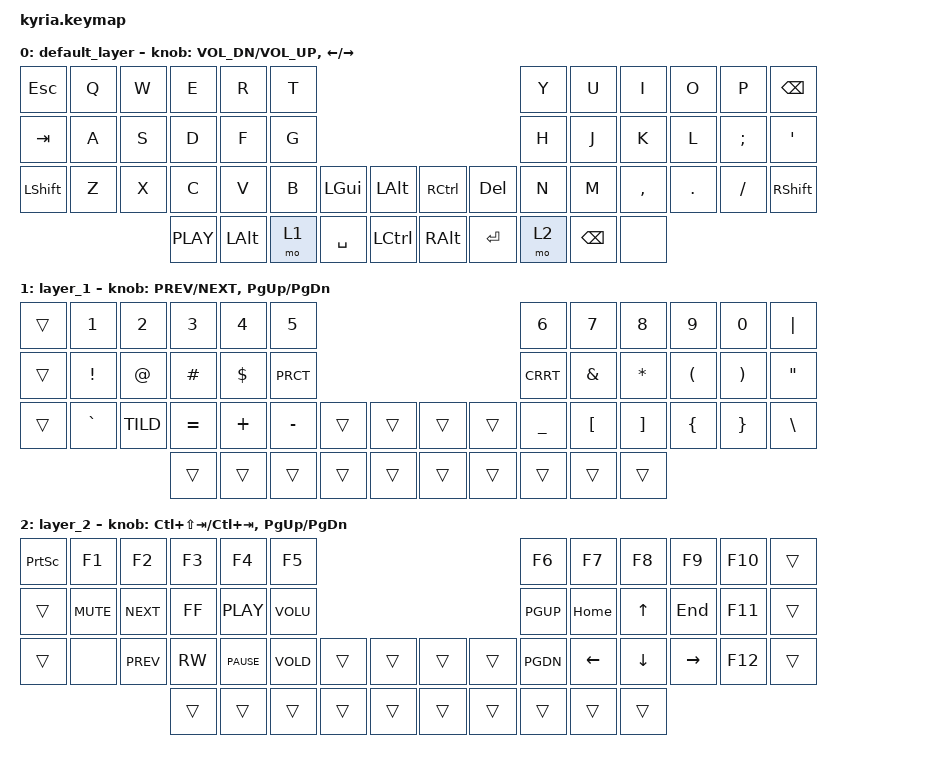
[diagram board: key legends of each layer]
/*
 * Copyright (c) 2020 The ZMK Contributors
 *
 * SPDX-License-Identifier: MIT
 */

#include <behaviors.dtsi>
#include <dt-bindings/zmk/keys.h>
#include <dt-bindings/zmk/outputs.h>
#include <dt-bindings/zmk/bt.h>

/ {
    behaviors {
        tm: thumb_mods {
            compatible = "zmk,behavior-hold-tap";
            label = "THUMB_MODS";
            #binding-cells = <2>;
            tapping-term-ms = <200>;    // <---[[moderate duration]]
            quick-tap-ms = <0>;
            flavor = "hold-preferred";
            bindings = <&kp>, <&kp>;
        };
        // A sticky mod: if held, it's mod, if tap, it's sticky mod.
        sm: sticky_mods {
            compatible = "zmk,behavior-hold-tap";
            label = "STICKY_MODS";
            #binding-cells = <2>;
            tapping-term-ms = <200>;    // <---[[moderate duration]]
            quick-tap-ms = <0>;
            flavor = "hold-preferred";
            bindings = <&kp>, <&sk>;
        };
    };

    keymap {
        compatible = "zmk,keymap";

        default_layer {
// ---------------------------------------------------------------------------------------------------------------------------------

            bindings = <
    &kp ESC   &kp Q &kp W &kp E      &kp R    &kp T                                        &kp Y &kp U    &kp I     &kp O   &kp P    &kp BKSP
    &kp TAB   &kp A &kp S &kp D      &kp F    &kp G                                        &kp H &kp J    &kp K     &kp L   &kp SEMI &kp SQT
    &kp LSHFT &kp Z &kp X &kp C      &kp V    &kp B &kp LGUI  &kp LALT   &kp RCTRL &kp DEL &kp N &kp M    &kp COMMA &kp DOT &kp FSLH &kp RSHFT
                          &kp C_PLAY &kp LALT &mo 1 &kp SPACE &kp LCTRL  &kp RALT  &kp RET &mo 2 &kp BKSP &none
            >;

            sensor-bindings = <&inc_dec_kp C_VOL_DN C_VOL_UP &inc_dec_kp LEFT RIGHT>;
        };

        layer_1 {
// ---------------------------------------------------------------------------------------------------------------------------------

            bindings = <
    &trans &kp N1   &kp N2   &kp N3   &kp N4   &kp N5                                 &kp N6    &kp N7   &kp N8   &kp N9   &kp N0   &kp PIPE
    &trans &kp EXCL &kp AT   &kp HASH &kp DLLR &kp PRCT                               &kp CRRT  &kp AMPS &kp STAR &kp LPAR &kp RPAR &kp DQT
    &trans &kp GRAV &kp TILD &kp EQL  &kp PLUS &kp MINUS &trans &trans  &trans &trans &kp UNDER &kp LBKT &kp RBKT &kp LBRC &kp RBRC &kp BSLH
                             &trans   &trans   &trans    &trans &trans  &trans &trans &trans    &trans   &trans
            >;

            sensor-bindings = <&inc_dec_kp C_PREV C_NEXT &inc_dec_kp PG_UP PG_DN>;
        };

        layer_2 {
// ---------------------------------------------------------------------------------------------------------------------------------

            bindings = <
    &kp PSCRN  &kp F1     &kp F2     &kp F3   &kp F4      &kp F5                                  &kp F6   &kp F7   &kp F8   &kp F9    &kp F10 &trans
    &trans     &kp C_MUTE &kp C_NEXT &kp C_FF &kp C_PLAY  &kp VOLU                                &kp PGUP &kp HOME &kp UP   &kp END   &kp F11 &trans
    &trans     &none      &kp C_PREV &kp C_RW &kp C_PAUSE &kp VOLD &trans &trans    &trans &trans &kp PGDN &kp LEFT &kp DOWN &kp RIGHT &kp F12 &trans
                                     &trans   &trans      &trans   &trans &trans    &trans &trans &trans   &trans   &trans
            >;

            sensor-bindings = <&inc_dec_kp LC(LS(TAB)) LC(TAB) &inc_dec_kp PG_UP PG_DN>;
        };
    };
};

&left_encoder {
    resolution = <2>;
};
